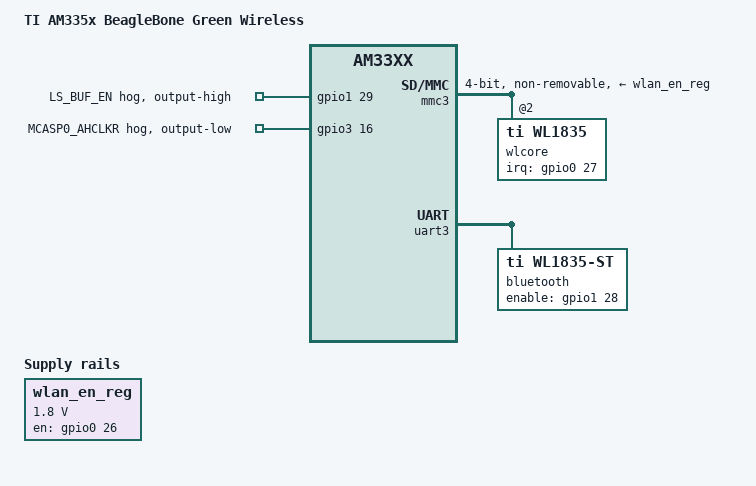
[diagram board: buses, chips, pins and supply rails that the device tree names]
// SPDX-License-Identifier: GPL-2.0-only
/*
 * Copyright (C) 2012 Texas Instruments Incorporated - https://www.ti.com/
 */
/dts-v1/;

#include "am33xx.dtsi"
#include "am335x-bone-common.dtsi"
#include "am335x-bonegreen-common.dtsi"
#include <dt-bindings/interrupt-controller/irq.h>

/ {
	model = "TI AM335x BeagleBone Green Wireless";
	compatible = "ti,am335x-bone-green-wireless", "ti,am335x-bone-green", "ti,am335x-bone-black", "ti,am335x-bone", "ti,am33xx";

	wlan_en_reg: fixedregulator@2 {
		compatible = "regulator-fixed";
		regulator-name = "wlan-en-regulator";
		regulator-min-microvolt = <1800000>;
		regulator-max-microvolt = <1800000>;
		startup-delay-us= <70000>;

		/* WL_EN */
		gpio = <&gpio0 26 0>;
		enable-active-high;
	};
};

&am33xx_pinmux {
	bt_pins: pinmux_bt_pins {
		pinctrl-single,pins = <
			AM33XX_PADCONF(AM335X_PIN_GPMC_BEN1, PIN_OUTPUT_PULLUP, MUX_MODE7)	/* gpmc_ad12.gpio1_28 BT_EN */
		>;
	};

	mmc3_pins: pinmux_mmc3_pins {
		pinctrl-single,pins = <
			AM33XX_PADCONF(AM335X_PIN_GPMC_AD12, PIN_INPUT_PULLUP, MUX_MODE3)	/* gpmc_ad12.mmc2_dat0 */
			AM33XX_PADCONF(AM335X_PIN_GPMC_AD13, PIN_INPUT_PULLUP, MUX_MODE3)	/* gpmc_ad13.mmc2_dat1 */
			AM33XX_PADCONF(AM335X_PIN_GPMC_AD14, PIN_INPUT_PULLUP, MUX_MODE3)	/* gpmc_ad14.mmc2_dat2 */
			AM33XX_PADCONF(AM335X_PIN_GPMC_AD15, PIN_INPUT_PULLUP, MUX_MODE3)	/* gpmc_ad15.mmc2_dat3 */
			AM33XX_PADCONF(AM335X_PIN_GPMC_CSN3, PIN_INPUT_PULLUP, MUX_MODE3)	/* gpmc_csn3.mmc2_cmd */
			AM33XX_PADCONF(AM335X_PIN_GPMC_CLK, PIN_INPUT_PULLUP, MUX_MODE3)	/* gpmc_clk.mmc2_clk */
		>;
	};

	uart3_pins: pinmux_uart3_pins {
		pinctrl-single,pins = <
			AM33XX_PADCONF(AM335X_PIN_MII1_RXD3, PIN_INPUT_PULLUP, MUX_MODE1)	/* gmii1_rxd3.uart3_rxd */
			AM33XX_PADCONF(AM335X_PIN_MII1_RXD2, PIN_OUTPUT_PULLDOWN, MUX_MODE1)	/* gmii1_rxd2.uart3_txd */
			AM33XX_PADCONF(AM335X_PIN_MDIO, PIN_INPUT, MUX_MODE3)		/* mdio_data.uart3_ctsn */
			AM33XX_PADCONF(AM335X_PIN_MDC, PIN_OUTPUT_PULLDOWN, MUX_MODE3)	/* mdio_clk.uart3_rtsn */
		>;
	};

	wl18xx_pins: pinmux_wl18xx_pins {
		pinctrl-single,pins = <
			AM33XX_PADCONF(AM335X_PIN_GPMC_AD10, PIN_OUTPUT_PULLDOWN, MUX_MODE7)	/* gpmc_ad10.gpio0_26 WL_EN */
			AM33XX_PADCONF(AM335X_PIN_GPMC_AD11, PIN_INPUT_PULLDOWN, MUX_MODE7)	/* gpmc_ad11.gpio0_27 WL_IRQ */
			AM33XX_PADCONF(AM335X_PIN_GPMC_CSN0, PIN_OUTPUT_PULLUP, MUX_MODE7)	/* gpmc_csn0.gpio1_29 LS_BUF_EN */
		>;
	};
};

&mac {
	status = "disabled";
};

&mmc3 {
	dmas = <&edma_xbar 12 0 1
		&edma_xbar 13 0 2>;
	dma-names = "tx", "rx";
	status = "okay";
	vmmc-supply = <&wlan_en_reg>;
	bus-width = <4>;
	non-removable;
	cap-power-off-card;
	keep-power-in-suspend;
	pinctrl-names = "default";
	pinctrl-0 = <&mmc3_pins &wl18xx_pins>;

	#address-cells = <1>;
	#size-cells = <0>;
	wlcore: wlcore@2 {
		compatible = "ti,wl1835";
		reg = <2>;
		interrupt-parent = <&gpio0>;
		interrupts = <27 IRQ_TYPE_EDGE_RISING>;
	};
};

&uart3 {
	pinctrl-names = "default";
	pinctrl-0 = <&uart3_pins &bt_pins>;
	status = "okay";

	bluetooth {
		compatible = "ti,wl1835-st";
		enable-gpios = <&gpio1 28 GPIO_ACTIVE_HIGH>;
	};
};

&gpio1 {
	ls-buf-en-hog {
		gpio-hog;
		gpios = <29 GPIO_ACTIVE_HIGH>;
		output-high;
		line-name = "LS_BUF_EN";
	};
};

/* BT_AUD_OUT from wl1835 has to be pulled low when WL_EN is activated.*/
/* in case it isn't, wilink8 ends up in one of the test modes that     */
/* intruces various issues (elp wkaeup timeouts etc.)                  */
/* On the BBGW this pin is routed through the level shifter (U21) that */
/* introduces a pullup on the line and wilink8 ends up in a bad state. */
/* use a gpio hog to force this pin low. An alternative may be adding  */
/* an external pulldown on U21 pin 4.                                  */

&gpio3 {
	bt-aud-in-hog {
		gpio-hog;
		gpios = <16 GPIO_ACTIVE_HIGH>;
		output-low;
		line-name = "MCASP0_AHCLKR";
	};
};
